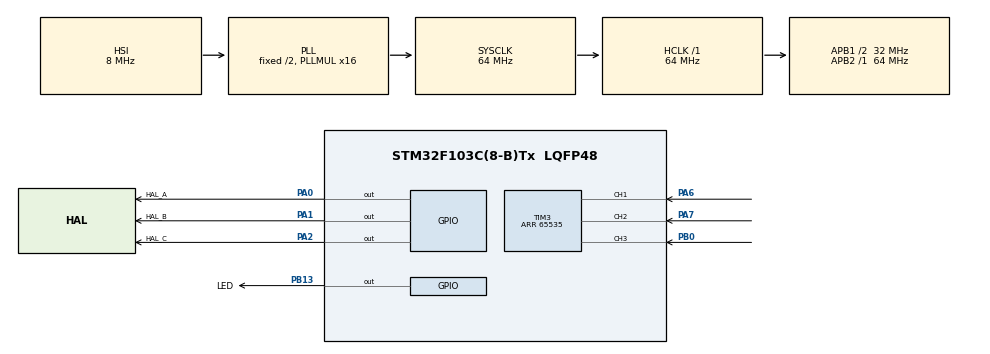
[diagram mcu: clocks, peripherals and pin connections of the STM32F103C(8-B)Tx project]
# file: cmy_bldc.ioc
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Mcu.Family=STM32F1
Mcu.Name=STM32F103C(8-B)Tx
Mcu.Package=LQFP48
NVIC.PriorityGroup=NVIC_PRIORITYGROUP_4
NVIC.TIM2_IRQn=true\:0\:0\:false\:false\:true\:true
NVIC.TIM3_IRQn=true\:0\:0\:false\:false\:true\:true
PA0-WKUP.GPIO_Label=HAL_A
PA0-WKUP.Signal=GPIO_Output
PA1.GPIO_Label=HAL_B
PA1.Signal=GPIO_Output
PA13.Mode=Serial_Wire
PA13.Signal=SYS_JTMS-SWDIO
PA14.Mode=Serial_Wire
PA14.Signal=SYS_JTCK-SWCLK
PA2.GPIO_Label=HAL_C
PA2.Signal=GPIO_Output
PA6.Signal=S_TIM3_CH1
PA7.Signal=S_TIM3_CH2
PB0.Signal=S_TIM3_CH3
PB13.GPIO_Label=LED
PB13.PinState=GPIO_PIN_SET
PB13.Signal=GPIO_Output
ProjectManager.HeapSize=0x200
ProjectManager.StackSize=0x400
ProjectManager.TargetToolchain=MDK-ARM V5
RCC.AHBFreq_Value=64000000
RCC.APB1CLKDivider=RCC_HCLK_DIV2
RCC.APB1Freq_Value=32000000
RCC.APB1TimFreq_Value=64000000
RCC.APB2Freq_Value=64000000
RCC.APB2TimFreq_Value=64000000
RCC.HCLKFreq_Value=64000000
RCC.PLLMUL=RCC_PLL_MUL16
RCC.SYSCLKFreq_VALUE=64000000
RCC.SYSCLKSource=RCC_SYSCLKSOURCE_PLLCLK
RCC.USBFreq_Value=64000000
SH.S_TIM3_CH1.0=TIM3_CH1,Xored_Inputs_Hall_Sensor_Interface
SH.S_TIM3_CH2.0=TIM3_CH2,Xored_Inputs_Hall_Sensor_Interface
SH.S_TIM3_CH3.0=TIM3_CH3,Xored_Inputs_Hall_Sensor_Interface
TIM2.Period=50000
TIM2.Prescaler=71
TIM3.Commutation_Delay=1
TIM3.IC1Filter=1
TIM3.Period=65535
VP_TIM2_VS_ClockSourceINT.Mode=Internal
board=cmy_bldc

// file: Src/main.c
/**
  ******************************************************************************
  * File Name          : main.c
  * Description        : Main program body
  ******************************************************************************
  ** This notice applies to any and all portions of this file
  * that are not between comment pairs USER CODE BEGIN and
  * USER CODE END. Other portions of this file, whether
  * inserted by the user or by software development tools
  * are owned by their respective copyright owners.
  *
  * COPYRIGHT(c) 2020 STMicroelectronics
  *
  * Redistribution and use in source and binary forms, with or without modification,
  * are permitted provided that the following conditions are met:
  *   1. Redistributions of source code must retain the above copyright notice,
  *      this list of conditions and the following disclaimer.
  *   2. Redistributions in binary form must reproduce the above copyright notice,
  *      this list of conditions and the following disclaimer in the documentation
  *      and/or other materials provided with the distribution.
  *   3. Neither the name of STMicroelectronics nor the names of its contributors
  *      may be used to endorse or promote products derived from this software
  *      without specific prior written permission.
  *
  * THIS SOFTWARE IS PROVIDED BY THE COPYRIGHT HOLDERS AND CONTRIBUTORS "AS IS"
  * AND ANY EXPRESS OR IMPLIED WARRANTIES, INCLUDING, BUT NOT LIMITED TO, THE
  * IMPLIED WARRANTIES OF MERCHANTABILITY AND FITNESS FOR A PARTICULAR PURPOSE ARE
  * DISCLAIMED. IN NO EVENT SHALL THE COPYRIGHT HOLDER OR CONTRIBUTORS BE LIABLE
  * FOR ANY DIRECT, INDIRECT, INCIDENTAL, SPECIAL, EXEMPLARY, OR CONSEQUENTIAL
  * DAMAGES (INCLUDING, BUT NOT LIMITED TO, PROCUREMENT OF SUBSTITUTE GOODS OR
  * SERVICES; LOSS OF USE, DATA, OR PROFITS; OR BUSINESS INTERRUPTION) HOWEVER
  * CAUSED AND ON ANY THEORY OF LIABILITY, WHETHER IN CONTRACT, STRICT LIABILITY,
  * OR TORT (INCLUDING NEGLIGENCE OR OTHERWISE) ARISING IN ANY WAY OUT OF THE USE
  * OF THIS SOFTWARE, EVEN IF ADVISED OF THE POSSIBILITY OF SUCH DAMAGE.
  *
  ******************************************************************************
  */

#include "main.h"
#include "stm32f1xx_hal.h"
#include "tim.h"
#include "gpio.h"

/* USER CODE BEGIN PV */
/* Private variables ---------------------------------------------------------*/

/* USER CODE END PV */

void SystemClock_Config(void);

/* USER CODE BEGIN PFP */
/* Private function prototypes -----------------------------------------------*/

/* USER CODE END PFP */

int main(void)
{

  /* MCU Configuration----------------------------------------------------------*/

  /* Reset of all peripherals, Initializes the Flash interface and the Systick. */
  HAL_Init();

  /* Configure the system clock */
  SystemClock_Config();

  /* Initialize all configured peripherals */
  MX_GPIO_Init();
  MX_TIM3_Init();
  MX_TIM2_Init();

  /* Infinite loop */
  while (1)
  {

  /* USER CODE BEGIN 3 */
//    HAL_GPIO_TogglePin(LED_GPIO_Port, LED_Pin);
//    HAL_Delay(100);
      HAL_GPIO_WritePin(GPIOA, HAL_A_Pin, GPIO_PIN_SET);
      HAL_GPIO_WritePin(GPIOA, HAL_B_Pin, GPIO_PIN_SET);
      HAL_GPIO_WritePin(GPIOA, HAL_C_Pin, GPIO_PIN_RESET);
      HAL_Delay(1000);
      HAL_GPIO_WritePin(GPIOA, HAL_A_Pin, GPIO_PIN_SET);
      HAL_GPIO_WritePin(GPIOA, HAL_B_Pin, GPIO_PIN_RESET);
      HAL_GPIO_WritePin(GPIOA, HAL_C_Pin, GPIO_PIN_RESET);
      HAL_Delay(1000);
      HAL_GPIO_WritePin(GPIOA, HAL_A_Pin, GPIO_PIN_SET);
      HAL_GPIO_WritePin(GPIOA, HAL_B_Pin, GPIO_PIN_RESET);
      HAL_GPIO_WritePin(GPIOA, HAL_C_Pin, GPIO_PIN_SET);
      HAL_Delay(1000);
      HAL_GPIO_WritePin(GPIOA, HAL_A_Pin, GPIO_PIN_RESET);
      HAL_GPIO_WritePin(GPIOA, HAL_B_Pin, GPIO_PIN_RESET);
      HAL_GPIO_WritePin(GPIOA, HAL_C_Pin, GPIO_PIN_SET);
      HAL_Delay(1000);
      HAL_GPIO_WritePin(GPIOA, HAL_A_Pin, GPIO_PIN_RESET);
      HAL_GPIO_WritePin(GPIOA, HAL_B_Pin, GPIO_PIN_SET);
      HAL_GPIO_WritePin(GPIOA, HAL_C_Pin, GPIO_PIN_SET);
      HAL_Delay(1000);
      HAL_GPIO_WritePin(GPIOA, HAL_A_Pin, GPIO_PIN_RESET);
      HAL_GPIO_WritePin(GPIOA, HAL_B_Pin, GPIO_PIN_SET);
      HAL_GPIO_WritePin(GPIOA, HAL_C_Pin, GPIO_PIN_RESET);
      HAL_Delay(1000);
  }
  /* USER CODE END 3 */

}

/** System Clock Configuration
*/
void SystemClock_Config(void)
{

  RCC_OscInitTypeDef RCC_OscInitStruct;
  RCC_ClkInitTypeDef RCC_ClkInitStruct;

    /**Initializes the CPU, AHB and APB busses clocks
    */
  RCC_OscInitStruct.OscillatorType = RCC_OSCILLATORTYPE_HSI;
  RCC_OscInitStruct.HSIState = RCC_HSI_ON;
  RCC_OscInitStruct.HSICalibrationValue = 16;
  RCC_OscInitStruct.PLL.PLLState = RCC_PLL_ON;
  RCC_OscInitStruct.PLL.PLLSource = RCC_PLLSOURCE_HSI_DIV2;
  RCC_OscInitStruct.PLL.PLLMUL = RCC_PLL_MUL16;
  if (HAL_RCC_OscConfig(&RCC_OscInitStruct) != HAL_OK)
  {
    _Error_Handler(__FILE__, __LINE__);
  }

    /**Initializes the CPU, AHB and APB busses clocks
    */
  RCC_ClkInitStruct.ClockType = RCC_CLOCKTYPE_HCLK|RCC_CLOCKTYPE_SYSCLK
                              |RCC_CLOCKTYPE_PCLK1|RCC_CLOCKTYPE_PCLK2;
  RCC_ClkInitStruct.SYSCLKSource = RCC_SYSCLKSOURCE_PLLCLK;
  RCC_ClkInitStruct.AHBCLKDivider = RCC_SYSCLK_DIV1;
  RCC_ClkInitStruct.APB1CLKDivider = RCC_HCLK_DIV2;
  RCC_ClkInitStruct.APB2CLKDivider = RCC_HCLK_DIV1;

  if (HAL_RCC_ClockConfig(&RCC_ClkInitStruct, FLASH_LATENCY_2) != HAL_OK)
  {
    _Error_Handler(__FILE__, __LINE__);
  }

    /**Configure the Systick interrupt time
    */
  HAL_SYSTICK_Config(HAL_RCC_GetHCLKFreq()/1000);

    /**Configure the Systick
    */
  HAL_SYSTICK_CLKSourceConfig(SYSTICK_CLKSOURCE_HCLK);

  /* SysTick_IRQn interrupt configuration */
  HAL_NVIC_SetPriority(SysTick_IRQn, 0, 0);
}

void _Error_Handler(char * file, int line)
{
  while(1)
  {
  }
}

/************************ (C) COPYRIGHT STMicroelectronics *****END OF FILE****/
